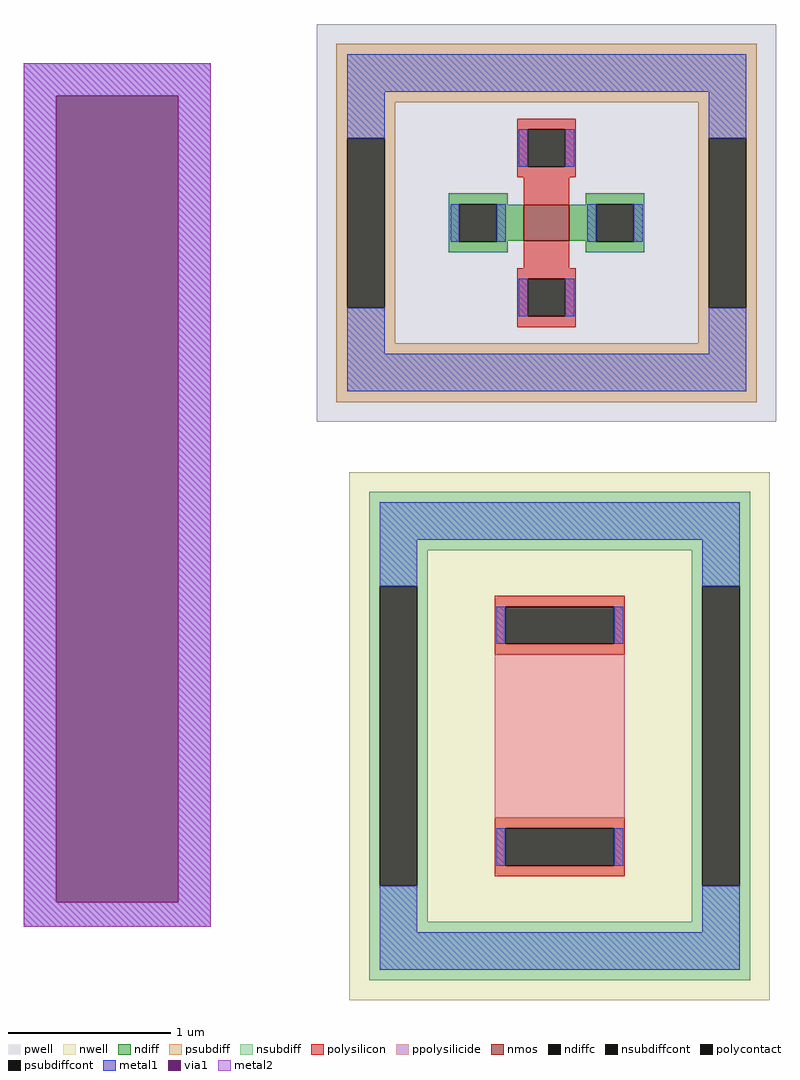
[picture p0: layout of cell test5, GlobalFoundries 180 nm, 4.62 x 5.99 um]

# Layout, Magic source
magic
tech gf180mcuC
magscale 1 10
<< metal1 >>
rect -460 1050 -230 1090
rect -460 60 -420 1050
rect -270 60 -230 1050
rect -460 30 -230 60
<< via1 >>
rect -420 60 -270 1050
<< metal2 >>
rect -460 1050 -230 1090
rect -460 60 -420 1050
rect -270 60 -230 1050
rect -460 30 -230 60
use nmos_3p3_BD67EX  nmos_3p3_BD67EX_0
transform 1 0 182 0 1 894
box -282 -244 282 244
use ppolyf_s_EWZ6SG  ppolyf_s_EWZ6SG_0
transform 1 0 198 0 1 264
box -258 -324 258 324
<< end >>

# cell nmos_3p3_BD67EX: kit device nmos_3p3, w 0.220 l 0.280 m 1 nf 1 diffcov 100 polycov 100 guard 1 glc 1 grc 1 gtc 0 gbc 0 tbcov 100 rlcov 100 topc 1 botc 1 poverlap 0 doverlap 1 lmin 0.28 wmin 0.22 full_metal 1 compatible {nmos_3p3 nmos_6p0 nmos_6p0_nat}

# cell ppolyf_s_EWZ6SG: kit device ppolyf_s, w 0.80 l 1.00 m 1 nx 1 wmin 0.80 lmin 1.00 rho 7 val 8.86 dummy 0 dw 0.01 term 0.0 sterm 0.0 caplen 0.4 snake 0 glc 1 grc 1 gtc 0 gbc 0 roverlap 0 endcov 100 full_metal 1
